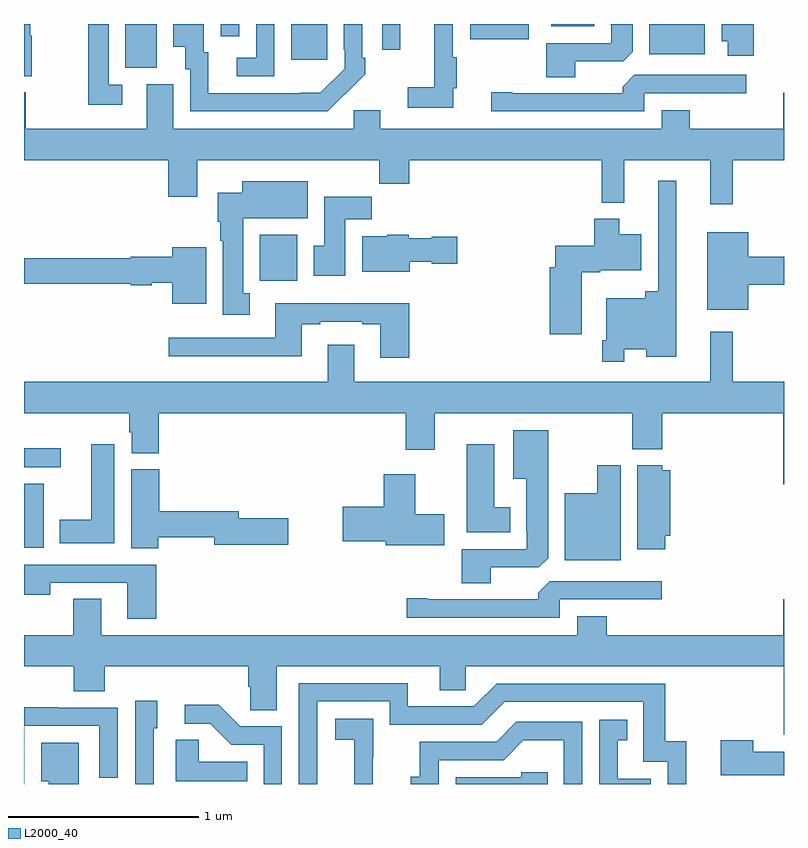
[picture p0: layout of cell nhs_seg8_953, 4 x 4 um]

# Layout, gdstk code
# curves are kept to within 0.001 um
import gdstk
lib = gdstk.Library(unit=1e-6, precision=1e-09)
def R(c, l, rs):  # rectangles x0, y0, x1, y1
    for r in rs: c.add(gdstk.rectangle(r[:2], r[2:], *l))
def P(c, l, *ps):  # polygons
    for p in ps: c.add(gdstk.Polygon(p, *l))
L2000_40 = (2000, 40)

nhs_seg8_953 = lib.new_cell('nhs_seg8_953')
R(nhs_seg8_953, L2000_40, [(173,1097.144,173.104,1097.479), (173,1097.568,173.194,1097.666), (174.242,1098.548,174.439,1098.79), (173.534,1099.669,173.698,1099.9), (174.407,1099.713,174.595,1099.9), (176.291,1099.742,176.584,1099.9), (174.885,1099.764,174.981,1099.9), (175.349,1099.82,175.657,1099.9), (174.036,1099.836,174.132,1099.9), (175.775,1099.889,176.002,1099.9)])
P(nhs_seg8_953, L2000_40, [(174.689,1099.531),(174.69,1099.53),(174.795,1099.635),(174.795,1099.723),(174.78,1099.723),(174.78,1099.9),(174.684,1099.9),(174.684,1099.765),(174.687,1099.765),(174.687,1099.665),(174.559,1099.537),(174.455,1099.536),(173.971,1099.536),(173.971,1099.752),(173.947,1099.752),(173.947,1099.9),(173.786,1099.9),(173.786,1099.781),(173.849,1099.781),(173.849,1099.662),(173.874,1099.662),(173.874,1099.44),(174.598,1099.44)],
  [(175.259,1099.561),(175.277,1099.561),(175.277,1099.724),(175.257,1099.724),(175.257,1099.9),(175.16,1099.9),(175.16,1099.567),(175.02,1099.567),(175.02,1099.458),(175.259,1099.458)],
  [(174.318,1099.9),(174.222,1099.9),(174.222,1099.722),(174.12,1099.722),(174.12,1099.626),(174.318,1099.626)],
  [(173.04,1099.839),(173.032,1099.839),(173.032,1099.9),(173,1099.9),(173,1099.625),(173.04,1099.625)],
  [(175.9,1099.704),(176.154,1099.704),(176.203,1099.753),(176.203,1099.9),(176.087,1099.9),(176.087,1099.897),(176.091,1099.897),(176.091,1099.8),(175.748,1099.8),(175.748,1099.621),(175.9,1099.621)],
  [(176.84,1099.9),(176.672,1099.9),(176.672,1099.808),(176.705,1099.808),(176.705,1099.734),(176.84,1099.734)],
  [(173.518,1099.581),(173.445,1099.581),(173.445,1099.9),(173.337,1099.9),(173.337,1099.476),(173.518,1099.476)],
  [(176.265,1099.536),(176.8,1099.536),(176.8,1099.632),(176.211,1099.632),(176.15,1099.57),(176.15,1099.536),(175.57,1099.536),(175.57,1099.541),(175.458,1099.541),(175.458,1099.44),(176.265,1099.44)],
  [(173.645,1099.584),(173.645,1099.348),(173.01,1099.348),(173.01,1099.54),(173,1099.54),(173,1099.184),(173.759,1099.184),(173.759,1098.99),(173.911,1098.99),(173.911,1099.184),(174.871,1099.184),(174.871,1099.06),(175.028,1099.06),(175.028,1099.184),(176.041,1099.184),(176.041,1098.959),(176.159,1098.959),(176.159,1099.184),(176.612,1099.184),(176.612,1098.951),(176.729,1098.951),(176.729,1099.184),(177,1099.184),(177,1099.537),(176.996,1099.537),(176.996,1099.348),(176.505,1099.348),(176.505,1099.447),(176.357,1099.447),(176.357,1099.348),(174.874,1099.348),(174.874,1099.446),(174.735,1099.446),(174.735,1099.348),(173.785,1099.348),(173.785,1099.584)],
  [(176.16,1098.188),(176.276,1098.188),(176.276,1098.149),(176.434,1098.149),(176.434,1099.075),(176.337,1099.075),(176.337,1098.493),(176.269,1098.493),(176.269,1098.457),(176.064,1098.457),(176.064,1098.235),(176.044,1098.235),(176.044,1098.123),(176.16,1098.123)],
  [(174.187,1098.482),(174.154,1098.482),(174.154,1098.878),(174.493,1098.878),(174.493,1099.072),(174.149,1099.072),(174.149,1099.012),(174.02,1099.012),(174.02,1098.858),(174.032,1098.858),(174.032,1098.758),(174.047,1098.758),(174.047,1098.369),(174.187,1098.369)],
  [(174.691,1098.872),(174.83,1098.872),(174.83,1098.99),(174.581,1098.99),(174.581,1098.732),(174.524,1098.732),(174.524,1098.576),(174.691,1098.576)],
  [(175.936,1098.593),(176.032,1098.593),(176.032,1098.605),(176.248,1098.605),(176.248,1098.793),(176.134,1098.793),(176.134,1098.874),(176,1098.874),(176,1098.733),(175.796,1098.733),(175.796,1098.619),(175.766,1098.619),(175.766,1098.267),(175.936,1098.267)],
  [(176.812,1098.527),(177,1098.527),(177,1098.674),(176.812,1098.674),(176.812,1098.805),(176.597,1098.805),(176.597,1098.395),(176.812,1098.395)],
  [(175.03,1098.65),(175.146,1098.65),(175.146,1098.638),(175.279,1098.638),(175.279,1098.78),(175.146,1098.78),(175.146,1098.772),(175.026,1098.772),(175.026,1098.79),(174.912,1098.79),(174.912,1098.784),(174.779,1098.784),(174.779,1098.596),(175.03,1098.596)],
  [(173.959,1098.724),(173.78,1098.724),(173.78,1098.676),(173.562,1098.676),(173.562,1098.668),(173,1098.668),(173,1098.532),(173.562,1098.532),(173.562,1098.524),(173.673,1098.524),(173.673,1098.539),(173.78,1098.539),(173.78,1098.428),(173.959,1098.428)],
  [(175.028,1098.43),(174.323,1098.43),(174.323,1098.249),(173.763,1098.249),(173.763,1098.152),(174.463,1098.152),(174.463,1098.321),(174.559,1098.321),(174.559,1098.333),(174.779,1098.333),(174.779,1098.321),(174.875,1098.321),(174.875,1098.144),(175.028,1098.144)],
  [(177,1098.016),(176.729,1098.016),(176.729,1098.28),(176.612,1098.28),(176.612,1098.016),(174.739,1098.016),(174.739,1098.211),(174.599,1098.211),(174.599,1098.016),(173,1098.016),(173,1097.852),(173.555,1097.852),(173.555,1097.751),(173.567,1097.751),(173.567,1097.641),(173.708,1097.641),(173.708,1097.852),(175.01,1097.852),(175.01,1097.658),(175.162,1097.658),(175.162,1097.852),(176.2,1097.852),(176.2,1097.663),(176.36,1097.663),(176.36,1097.852),(176.996,1097.852),(176.996,1097.478),(177,1097.478)],
  [(175.456,1097.04),(175.71,1097.04),(175.759,1097.089),(175.759,1097.761),(175.574,1097.761),(175.574,1097.507),(175.643,1097.507),(175.643,1097.233),(175.647,1097.233),(175.647,1097.136),(175.304,1097.136),(175.304,1096.957),(175.456,1096.957)],
  [(173.476,1097.689),(173.354,1097.689),(173.354,1097.29),(173.189,1097.29),(173.189,1097.168),(173.476,1097.168)],
  [(175.558,1097.356),(175.474,1097.356),(175.474,1097.689),(175.331,1097.689),(175.331,1097.225),(175.558,1097.225)],
  [(176.375,1097.207),(176.401,1097.207),(176.401,1097.551),(176.358,1097.551),(176.358,1097.578),(176.228,1097.578),(176.228,1097.136),(176.375,1097.136)],
  [(176.14,1097.578),(176.018,1097.578),(176.018,1097.431),(175.847,1097.431),(175.847,1097.078),(176.14,1097.078)],
  [(173.706,1097.2),(174.002,1097.2),(174.002,1097.158),(174.391,1097.158),(174.391,1097.3),(174.13,1097.3),(174.13,1097.336),(173.711,1097.336),(173.711,1097.556),(173.564,1097.556),(173.564,1097.14),(173.706,1097.14)],
  [(175.213,1097.319),(175.06,1097.319),(175.06,1097.53),(174.893,1097.53),(174.893,1097.36),(174.678,1097.36),(174.678,1097.177),(174.905,1097.177),(174.905,1097.156),(175.213,1097.156)],
  [(173.696,1097.055),(173,1097.055),(173,1096.896),(173.139,1096.896),(173.139,1096.959),(173.543,1096.959),(173.543,1096.77),(173.696,1096.77)],
  [(175.821,1096.872),(176.356,1096.872),(176.356,1096.968),(175.767,1096.968),(175.706,1096.906),(175.706,1096.872),(175.126,1096.872),(175.126,1096.877),(175.014,1096.877),(175.014,1096.776),(175.821,1096.776)],
  [(177,1096.873),(176.996,1096.873),(176.996,1096.684),(176.066,1096.684),(176.066,1096.783),(175.913,1096.783),(175.913,1096.684),(173.407,1096.684),(173.407,1096.874),(173.26,1096.874),(173.26,1096.684),(173,1096.684),(173,1096.52),(173.261,1096.52),(173.261,1096.387),(173.426,1096.387),(173.426,1096.52),(174.179,1096.52),(174.179,1096.411),(174.192,1096.411),(174.192,1096.288),(174.331,1096.288),(174.331,1096.52),(175.187,1096.52),(175.187,1096.393),(175.326,1096.393),(175.326,1096.52),(176.999,1096.52),(176.999,1096.158),(177,1096.158)],
  [(174.543,1096.335),(174.924,1096.335),(174.924,1096.212),(175.41,1096.212),(175.53,1096.332),(176.259,1096.332),(176.259,1096.017),(176.388,1096.017),(176.388,1095.9),(176.486,1095.9),(176.486,1096.126),(176.375,1096.126),(176.375,1096.428),(175.488,1096.428),(175.368,1096.308),(175.021,1096.308),(175.021,1096.431),(174.447,1096.431),(174.447,1095.9),(174.543,1095.9)],
  [(173.682,1096.194),(173.701,1096.194),(173.701,1096.339),(173.586,1096.339),(173.586,1095.9),(173.682,1095.9)],
  [(174.357,1096.203),(174.138,1096.203),(174.025,1096.316),(173.847,1096.316),(173.847,1096.218),(173.981,1096.218),(174.092,1096.107),(174.261,1096.107),(174.261,1095.9),(174.357,1095.9)],
  [(173.001,1096.206),(173.397,1096.206),(173.397,1095.933),(173.493,1095.933),(173.493,1096.302),(173.177,1096.302),(173.177,1096.304),(173,1096.304),(173,1095.9),(173.001,1095.9)],
  [(174.836,1096.037),(174.837,1096.037),(174.837,1096.243),(174.639,1096.243),(174.639,1096.133),(174.737,1096.133),(174.737,1095.905),(174.738,1095.905),(174.738,1095.9),(174.836,1095.9)],
  [(176.298,1095.927),(176.125,1095.927),(176.125,1096.131),(176.174,1096.131),(176.174,1096.237),(176.028,1096.237),(176.028,1095.9),(176.298,1095.9)],
  [(175.182,1096.026),(175.524,1096.026),(175.628,1096.13),(175.842,1096.13),(175.842,1095.9),(175.938,1095.9),(175.938,1096.227),(175.592,1096.227),(175.487,1096.122),(175.084,1096.122),(175.084,1095.937),(175.035,1095.937),(175.035,1095.9),(175.182,1095.9)],
  [(174.176,1096.018),(173.919,1096.018),(173.919,1096.133),(173.798,1096.133),(173.798,1095.914),(174.176,1095.914)],
  [(177,1096.069),(176.837,1096.069),(176.837,1096.129),(176.666,1096.129),(176.666,1095.947),(177,1095.947)],
  [(173.287,1096.117),(173.09,1096.117),(173.09,1095.914),(173.129,1095.914),(173.129,1095.9),(173.287,1095.9)],
  [(175.757,1095.963),(175.617,1095.963),(175.617,1095.936),(175.272,1095.936),(175.272,1095.9),(175.757,1095.9)])

lib.write_gds('nhs_seg8_953.gds')
